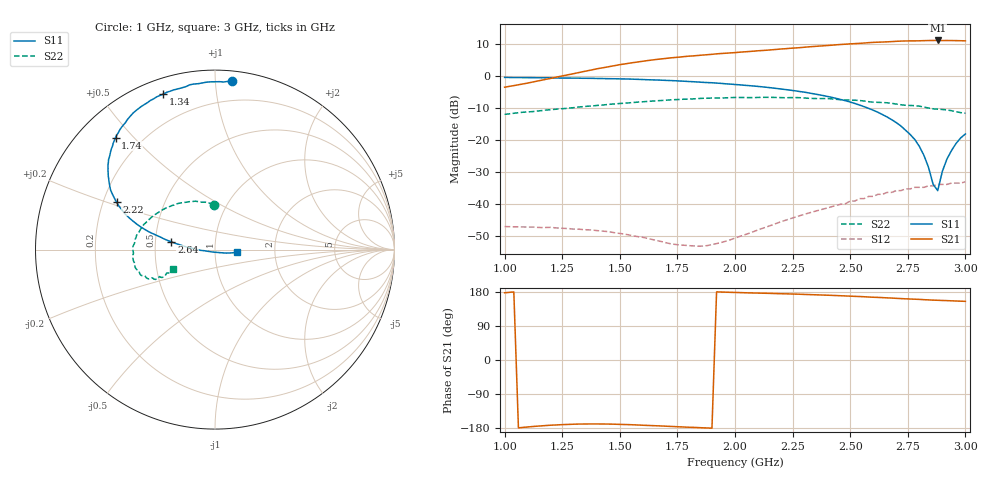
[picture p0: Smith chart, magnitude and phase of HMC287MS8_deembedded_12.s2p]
!Hittite Microwave Corporation
!12 Elizabeth Drive
!Chelmsford, MA 01824
!Tel: 978-250-3343
!Fax: 978-250-3373
!Device: HMC287MS8, 2.3-2.5 GHz LNA with AGC in 8-lead Grounded Base surface Mount Plastic Package
!Misc: Vdd = +3V Idd = 9.6 mA Vctl = 1.2V , DEEMBEDDED TO THE PINS OF THE DEVICE
# MHZ S MA R 50
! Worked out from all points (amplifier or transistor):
!   101 points, 1 GHz to 3 GHz, reference 50 ohm
!   highest |S21| = 11.0 dB at 2.88 GHz (marker M1)
!   |S21| within 3 dB of that: 2.146 GHz to end of sweep
!   unconditionally stable (mu >= 1): start of sweep to end of sweep
!   at 1.32 GHz: K = 16.19, MAG = 9.4 dB, |S12| = -48.0 dB
!   at 2 GHz: K = 27.98, MAG = 11.5 dB, |S12| = -50.7 dB
!   at 3 GHz: K = 5.95, MAG = 11.3 dB, |S12| = -33.2 dB
!   S11 on the Smith chart (normalised r, x): 1 GHz: 0.07, +1.10; 1.34 GHz: 0.07, +0.72; 1.74 GHz: 0.11, +0.45; 2.22 GHz: 0.26, +0.21; 2.64 GHz: 0.61, +0.06; 3 GHz: 1.28, -0.04
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1000  0.942 84.2  0.662 177.4  0.004382 166.3  0.249 91.6
1200  0.929 98.7  0.909 -172.1  0.004265 -178.6  0.295 114.5
1340  0.913 108.3  1.157 -169.0  0.00394 -166.3  0.329 128.7
1500  0.894 118.4  1.491 -169.9  0.003424 -153.2  0.368 143.3
1680  0.853 128.4  1.833 -174.1  0.002561 -128.6  0.41 157.5
1740  0.835 131.6  1.93 -175.8  0.002307 -114.9  0.423 161.8
1860  0.789 137.9  2.106 -178.9  0.00217 -80.9  0.444 169.7
2000  0.73 144.6  2.301 178.3  0.002901 -43.4  0.458 178.4
2220  0.608 154.4  2.649 174.6  0.005516 -10.5  0.453 -170.0
2340  0.523 159.1  2.866 172.2  0.007484 -0.5  0.441 -164.6
2500  0.388 164.7  3.151 168.5  0.011 9.2  0.416 -159.2
2640  0.247 169.9  3.365 164.6  0.014 14.2  0.381 -155.2
2680  0.206 171.8  3.419 163.4  0.015 14.8  0.371 -153.3
2760  0.121 177.1  3.509 160.9  0.017 16.8  0.343 -154.0
2800  0.079 -176.8  3.519 159.9  0.018 17.8  0.335 -152.4
2840  0.037 -163.9  3.551 158.6  0.019 18.5  0.313 -152.5
2860  0.02 -138.4  3.56 158.0  0.019 18.9  0.304 -153.3
2880  0.016 -71.9  3.562 157.6  0.02 19.5  0.3 -154.1
2900  0.032 -32.0  3.55 157.1  0.02 20.2  0.297 -154.1
2920  0.05 -21.6  3.554 156.7  0.02 20.8  0.292 -153.5
2960  0.088 -12.2  3.541 155.7  0.021 21.7  0.274 -153.3
3000  0.123 -7.3  3.514 154.8  0.022 22.8  0.259 -155.6
